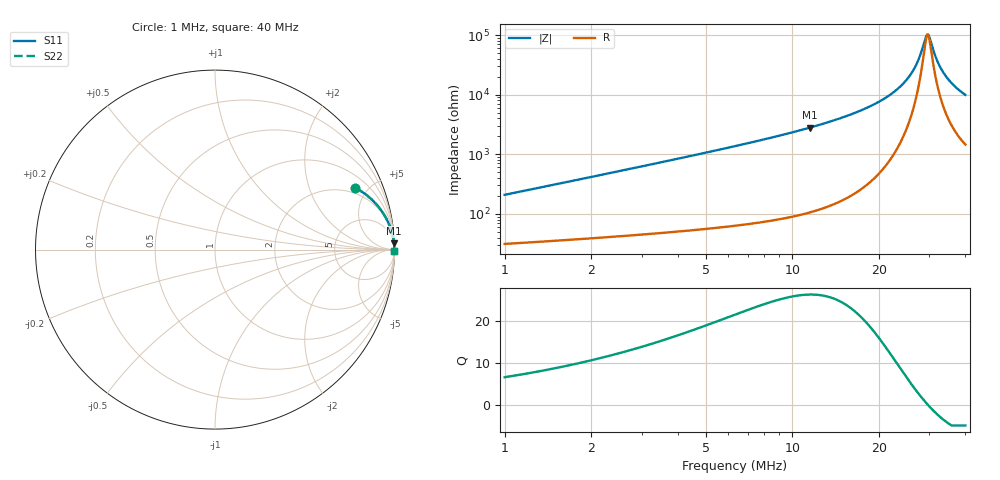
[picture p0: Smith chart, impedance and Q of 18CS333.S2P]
! Coilcraft 1812CS-333 Chip Inductor
! 31 July 2002
# MHZ S MA R 50
!Freq  MagS11  AngS11  MagS21  AngS21  MagS12  AngS12  MagS22  AngS22
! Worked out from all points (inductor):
!   391 points, 1 MHz to 40 MHz, reference 50 ohm
!   read as one part in series: L = 32.7 uH near 1.1 MHz
!   highest Q = 26.5 at 11.5 MHz (marker M1), where L = 38.6 uH
!   self-resonance near 29.5 MHz
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1  0.853 23.9  0.4094 -57.5  0.4094 -57.5  0.853 23.9
1.3  0.9018 19.3  0.3338 -63.5  0.3338 -63.5  0.9018 19.3
1.8  0.9427 14.5  0.2523 -69.7  0.2523 -69.7  0.9427 14.5
2.5  0.9676 10.7  0.1861 -74.7  0.1861 -74.7  0.9676 10.7
3.4  0.9813 7.9  0.1381 -78.3  0.1381 -78.3  0.9813 7.9
5.2  0.9914 5.1  0.08967 -81.9  0.08967 -81.9  0.9914 5.1
7.5  0.9956 3.5  0.06031 -84.1  0.06031 -84.1  0.9956 3.5
11.5  0.998 2.0  0.03578 -85.8  0.03578 -85.8  0.998 2.0
14  0.9986 1.5  0.02689 -86.2  0.02689 -86.2  0.9986 1.5
20.5  0.9991 0.7  0.01232 -85.5  0.01232 -85.5  0.9991 0.7
24.4  0.9991 0.4  0.006409 -82.1  0.006409 -82.1  0.9991 0.4
25.8  0.9991 0.3  0.004583 -78.8  0.004583 -78.8  0.9991 0.3
27  0.9991 0.2  0.003132 -73.2  0.003132 -73.2  0.9991 0.2
27.9  0.9991 0.1  0.002133 -64.3  0.002133 -64.3  0.9991 0.1
29.1  0.999 0.0  0.001104 -29.5  0.001104 -29.5  0.999 0.0
29.6  0.999 -0.0  0.0009778 0.8  0.0009778 0.8  0.999 -0.0
30  0.999 -0.0  0.001091 24.5  0.001091 24.5  0.999 -0.0
31  0.999 -0.1  0.001842 55.9  0.001842 55.9  0.999 -0.1
31.8  0.9989 -0.1  0.00259 65.6  0.00259 65.6  0.9989 -0.1
33.5  0.9989 -0.2  0.004229 74.2  0.004229 74.2  0.9989 -0.2
36.3  0.9987 -0.4  0.006851 78.9  0.006851 78.9  0.9987 -0.4
40  0.9985 -0.6  0.01011 81.0  0.01011 81.0  0.9985 -0.6
